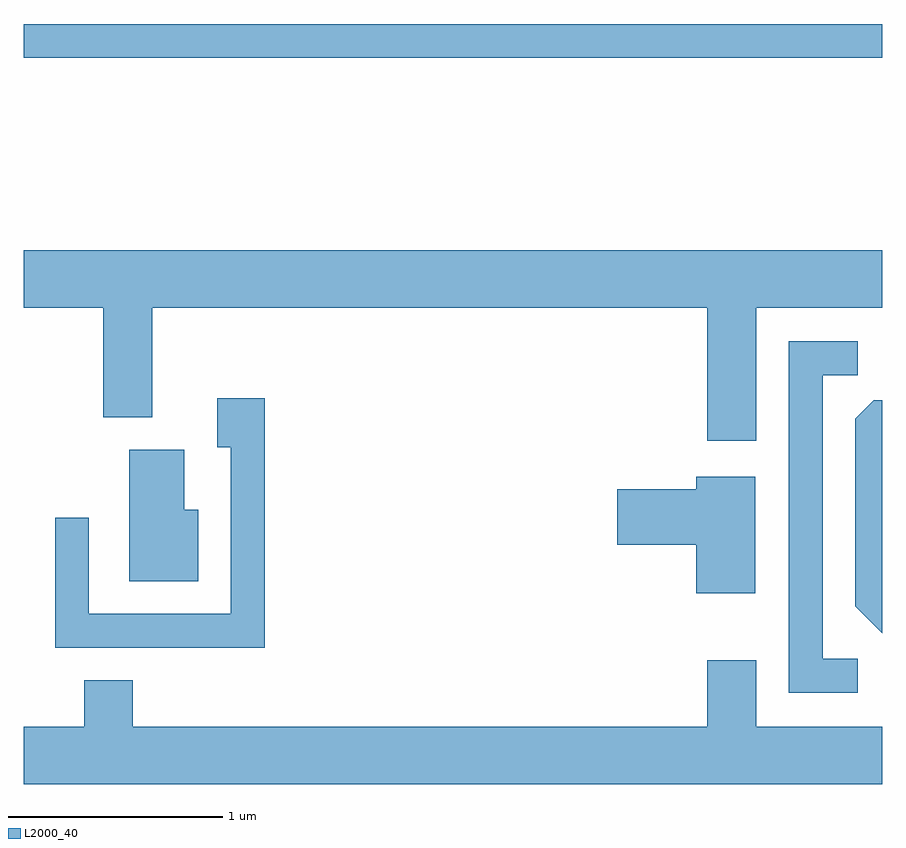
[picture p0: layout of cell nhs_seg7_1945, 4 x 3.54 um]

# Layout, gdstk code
import gdstk
lib = gdstk.Library(unit=1e-6, precision=1e-09)
def R(c, l, rs):  # rectangles x0, y0, x1, y1
    for r in rs: c.add(gdstk.rectangle(r[:2], r[2:], *l))
def P(c, l, *ps):  # polygons
    for p in ps: c.add(gdstk.Polygon(p, *l))
L2000_40 = (2000, 40)

nhs_seg7_1945 = lib.new_cell('nhs_seg7_1945')
R(nhs_seg7_1945, L2000_40, [(243.611,1782.081,247.611,1782.239)])
P(nhs_seg7_1945, L2000_40, [(247.024,1780.916),(247.611,1780.916),(247.611,1781.184),(243.611,1781.184),(243.611,1780.916),(243.981,1780.916),(243.981,1780.406),(244.209,1780.406),(244.209,1780.916),(246.796,1780.916),(246.796,1780.296),(247.024,1780.296)],
  [(247.498,1779.279),(247.334,1779.279),(247.334,1780.601),(247.498,1780.601),(247.498,1780.759),(247.176,1780.759),(247.176,1779.121),(247.498,1779.121)],
  [(244.734,1780.494),(244.511,1780.494),(244.511,1780.266),(244.576,1780.266),(244.576,1779.489),(243.914,1779.489),(243.914,1779.938),(243.756,1779.938),(243.756,1779.331),(244.734,1779.331)],
  [(247.611,1780.484),(247.572,1780.484),(247.486,1780.399),(247.486,1779.524),(247.611,1779.399)],
  [(244.424,1779.974),(244.359,1779.974),(244.359,1780.254),(244.101,1780.254),(244.101,1779.641),(244.424,1779.641)],
  [(247.019,1780.129),(246.746,1780.129),(246.746,1780.069),(246.376,1780.069),(246.376,1779.811),(246.746,1779.811),(246.746,1779.586),(247.019,1779.586)],
  [(247.611,1778.964),(247.024,1778.964),(247.024,1779.274),(246.796,1779.274),(246.796,1778.964),(244.119,1778.964),(244.119,1779.179),(243.891,1779.179),(243.891,1778.964),(243.611,1778.964),(243.611,1778.696),(247.611,1778.696)])

lib.write_gds('nhs_seg7_1945.gds')
